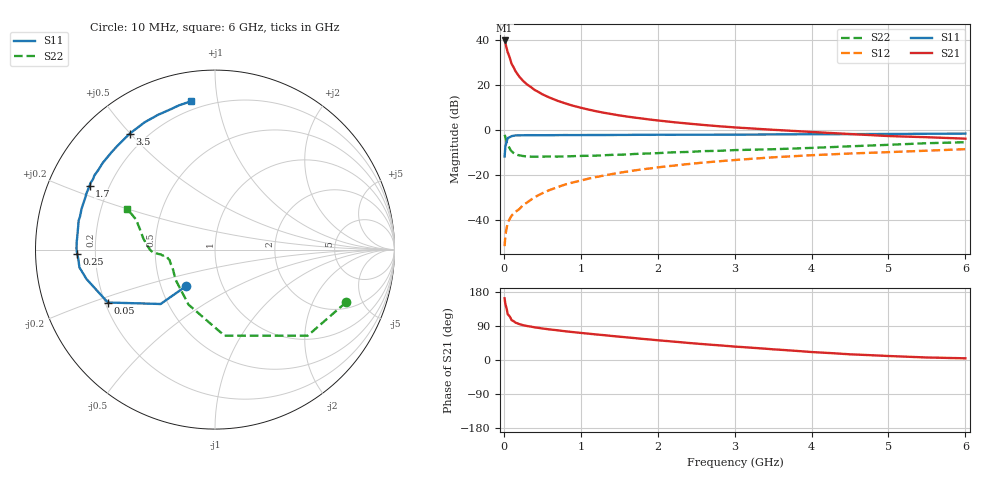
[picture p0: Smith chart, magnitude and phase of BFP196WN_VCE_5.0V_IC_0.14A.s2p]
! (c) 2017  Infineon Technologies AG, Munich
! Infineon Technologies  Discrete & RF Semiconductors
! BFP196WN
! VCE =  5.0 V,  IC = 0.14 A
! Common Emitter S-Parameters:  Jan 2017
# GHz  S  MA  R  50
!  f  S11  S21  S12  S22
! GHz  MAG  ANG  MAG  ANG  MAG  ANG  MAG  ANG
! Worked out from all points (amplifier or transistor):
!   77 points, 10 MHz to 6 GHz, reference 50 ohm
!   highest |S21| = 39.7 dB at 10 MHz (marker M1)
!   |S21| within 3 dB of that: start of sweep to 33.25 MHz
!   unconditionally stable (mu >= 1): 296.9 MHz to 2.69 GHz
!   at 130 MHz: K = 0.76, MSG = 32.2 dB, |S12| = -36.8 dB
!   at 2.2 GHz: K = 1.03, MAG = 8.7 dB, |S12| = -15.8 dB
!   at 6 GHz: K = 0.92, MSG = 2.3 dB, |S12| = -8.4 dB
!   S11 on the Smith chart (normalised r, x): 10 MHz: 0.67, -0.29; 50 MHz: 0.21, -0.22; 250 MHz: 0.13, -0.02; 1.7 GHz: 0.13, +0.24; 3.5 GHz: 0.14, +0.50; 6 GHz: 0.15, +0.84
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0.01  0.26 -128.4  96.18 162.7  0.0027 73.2  0.7872 -21.9
0.02  0.4287 -135.0  83.16 146.9  0.0047 71.8  0.7046 -42.9
0.05  0.6657 -153.7  52.76 120.7  0.0088 49.1  0.4825 -83.7
0.1  0.735 -167.2  29.4 105.3  0.0127 55.2  0.3405 -115.6
0.15  0.7619 -172.5  20.23 98.8  0.0155 57.5  0.2904 -132.3
0.2  0.7632 -175.9  15.26 94.8  0.0178 65.5  0.2765 -142.4
0.25  0.768 -178.2  12.29 91.9  0.0219 65.3  0.2668 -148.1
0.3  0.7719 179.7  10.27 89.7  0.0248 69.3  0.2599 -153.3
0.4  0.7717 176.9  7.741 86.1  0.0325 72.0  0.2571 -158.6
0.5  0.7707 174.3  6.199 83.2  0.0401 73.0  0.2589 -162.4
0.6  0.7717 172.2  5.184 80.6  0.0475 73.1  0.2596 -165.2
0.7  0.7734 170.2  4.436 78.3  0.0547 74.2  0.259 -166.8
0.9  0.7744 166.2  3.456 73.6  0.0697 73.0  0.2649 -168.8
1.1  0.7774 162.9  2.845 69.5  0.0842 72.8  0.2697 -170.9
1.4  0.7788 157.8  2.262 63.5  0.106 71.0  0.2828 -172.8
1.7  0.7845 153.0  1.89 57.8  0.1282 68.8  0.2961 -173.8
2.1  0.7876 146.9  1.566 50.4  0.1561 65.6  0.3154 -175.6
3.1  0.7941 132.0  1.118 34.1  0.2237 56.7  0.3638 179.7
3.5  0.802 126.3  1.015 28.2  0.2496 53.3  0.377 176.8
4.1  0.8107 117.8  0.89 19.9  0.2827 47.6  0.4098 169.8
5.1  0.8209 107.1  0.729 9.8  0.3299 39.6  0.4799 158.5
6  0.837 99.2  0.646 4.4  0.3782 33.3  0.5391 155.5
